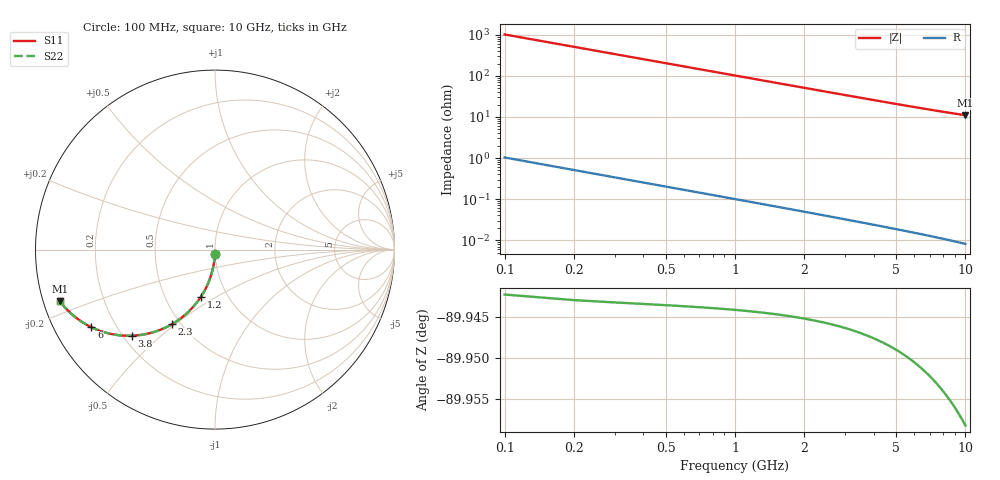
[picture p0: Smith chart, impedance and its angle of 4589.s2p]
# Hz S RI R 50.00
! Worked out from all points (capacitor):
!   100 points, 100 MHz to 10 GHz, reference 50 ohm
!   read as one part in shunt: C = 1.55 pF near 100 MHz
!   lowest |Z| = 11.1 ohm at 10 GHz (marker M1)
!   S11 on the Smith chart (normalised r, x): 100 MHz: 1.00, -0.05; 1.2 GHz: 0.75, -0.43; 2.3 GHz: 0.45, -0.49; 3.8 GHz: 0.23, -0.40; 6 GHz: 0.11, -0.28; 10 GHz: 0.05, -0.16
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1e8  -0.000527 -0.0238  0.9993 -0.0248  0.9993 -0.0248  -0.000527 -0.0238
2e8  -0.00232 -0.0476  0.9975 -0.0495  0.9975 -0.0495  -0.00232 -0.0476
3e8  -0.00528 -0.0711  0.9945 -0.074  0.9945 -0.074  -0.00528 -0.0711
4e8  -0.00938 -0.0945  0.9904 -0.0983  0.9904 -0.0983  -0.00938 -0.0945
5e8  -0.0146 -0.1175  0.9852 -0.1222  0.9852 -0.1222  -0.0146 -0.1175
6e8  -0.0209 -0.14  0.9789 -0.1458  0.9789 -0.1458  -0.0209 -0.14
7e8  -0.0283 -0.1621  0.9715 -0.1688  0.9715 -0.1688  -0.0283 -0.1621
9e8  -0.0459 -0.2047  0.9539 -0.2133  0.9539 -0.2133  -0.0459 -0.2047
1.2e9  -0.0788 -0.2634  0.9209 -0.2749  0.9209 -0.2749  -0.0788 -0.2634
1.5e9  -0.118 -0.3151  0.8817 -0.3295  0.8817 -0.3295  -0.118 -0.3151
1.8e9  -0.1617 -0.3592  0.838 -0.3764  0.838 -0.3764  -0.1617 -0.3592
2.3e9  -0.2399 -0.4156  0.7597 -0.4377  0.7597 -0.4377  -0.2399 -0.4156
2.8e9  -0.3192 -0.4523  0.6802 -0.4793  0.6802 -0.4793  -0.3192 -0.4523
3.4e9  -0.4097 -0.4749  0.5896 -0.5078  0.5896 -0.5078  -0.4097 -0.4749
3.8e9  -0.4651 -0.4798  0.5341 -0.5168  0.5341 -0.5168  -0.4651 -0.4798
4.4e9  -0.5393 -0.4764  0.4595 -0.5194  0.4595 -0.5194  -0.5393 -0.4764
5.1e9  -0.6127 -0.4614  0.3858 -0.5115  0.3858 -0.5115  -0.6127 -0.4614
6e9  -0.6882 -0.4326  0.3099 -0.492  0.3099 -0.492  -0.6882 -0.4326
6.7e9  -0.7347 -0.4069  0.2628 -0.4737  0.2628 -0.4737  -0.7347 -0.4069
7.5e9  -0.7776 -0.3766  0.2193 -0.452  0.2193 -0.452  -0.7776 -0.3766
8.4e9  -0.8157 -0.343  0.1805 -0.4283  0.1805 -0.4283  -0.8157 -0.343
1e10  -0.8642 -0.2873  0.1302 -0.3907  0.1302 -0.3907  -0.8642 -0.2873
